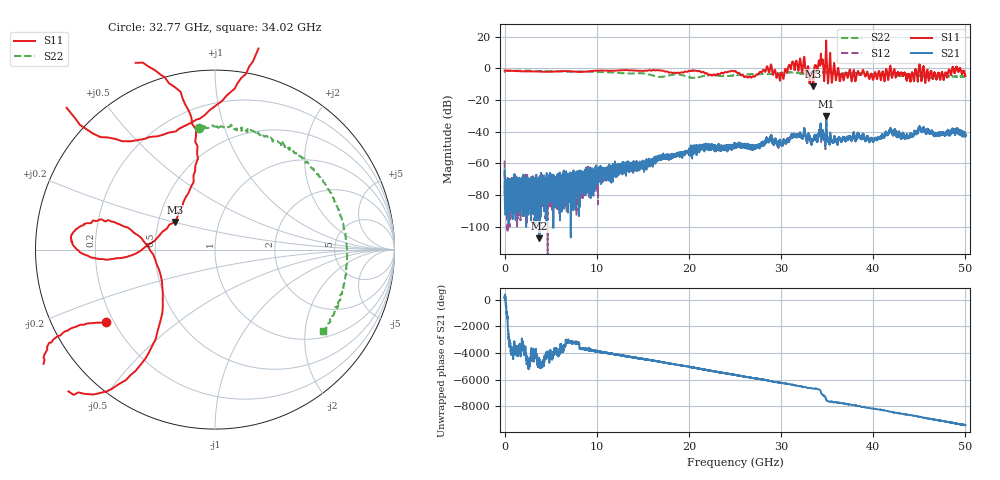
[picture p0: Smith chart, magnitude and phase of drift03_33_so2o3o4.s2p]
!Created with skrf (http://scikit-rf.org).
# Hz S RI R 50.0
!freq ReS11 ImS11 ReS21 ImS21 ReS12 ImS12 ReS22 ImS22
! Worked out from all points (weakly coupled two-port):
!   10001 points, 300 kHz to 50 GHz, reference 50 ohm
!   highest |S21| = -29.92 dB at 34.9 GHz (marker M1); lowest = -107.2 dB at 3.78 GHz (marker M2)
!   lowest |S11| = -11.4 dB at 33.47 GHz (marker M3), VSWR 1.74, Z = 30.6 + j10.1 ohm
!   |S11| at or under -10 dB: 33.44756 GHz to 33.48434 GHz (36.77 MHz wide, 0.11 % of centre)
!   |S22| runs from -5.9 to -1.3 dB; largest |S21 - S12| = 0.0075
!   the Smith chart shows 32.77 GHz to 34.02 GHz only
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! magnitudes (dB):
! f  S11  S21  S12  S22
! 300 kHz  -1.3  -63.8  -58.2  -2.0
! 305.3 MHz  -1.3  -74.7  -81.7  -1.4
! 3.78 GHz  -1.9  -107.2  -77.5  -1.6
! 8.335 GHz  -2.2  -68.5  -66.0  -1.9
! 16.67 GHz  -1.1  -57.0  -56.7  -5.2
! 25 GHz  -1.5  -48.6  -48.7  -4.3
! 26.92 GHz  -4.9  -50.9  -49.6  -3.6
! 28.73 GHz  -2.2  -45.7  -45.9  -3.5
! 30.06 GHz  -2.5  -47.4  -48.2  -2.8
! 31.08 GHz  -0.2  -43.6  -43.0  -2.4
! 31.87 GHz  -1.5  -41.9  -42.3  -2.9
! 33.34 GHz  -2.2  -46.7  -47.6  -2.9
! 33.47 GHz  -11.4  -44.4  -44.7  -2.8
! 34.3 GHz  7.4  -34.6  -35.2  -2.3
! 34.9 GHz  17.6  -29.9  -30.8  -2.4
! 36.58 GHz  -3.4  -45.8  -46.2  -3.6
! 40.19 GHz  -2.4  -44.7  -43.8  -3.7
! 41.67 GHz  -5.7  -41.3  -40.4  -3.7
! 45.21 GHz  -7.3  -39.4  -39.2  -4.4
! 47.06 GHz  -2.8  -41.7  -42.5  -5.1
! 49.21 GHz  -1.9  -39.4  -38.9  -5.1
! 50 GHz  -4.7  -41.8  -41.7  -5.0
